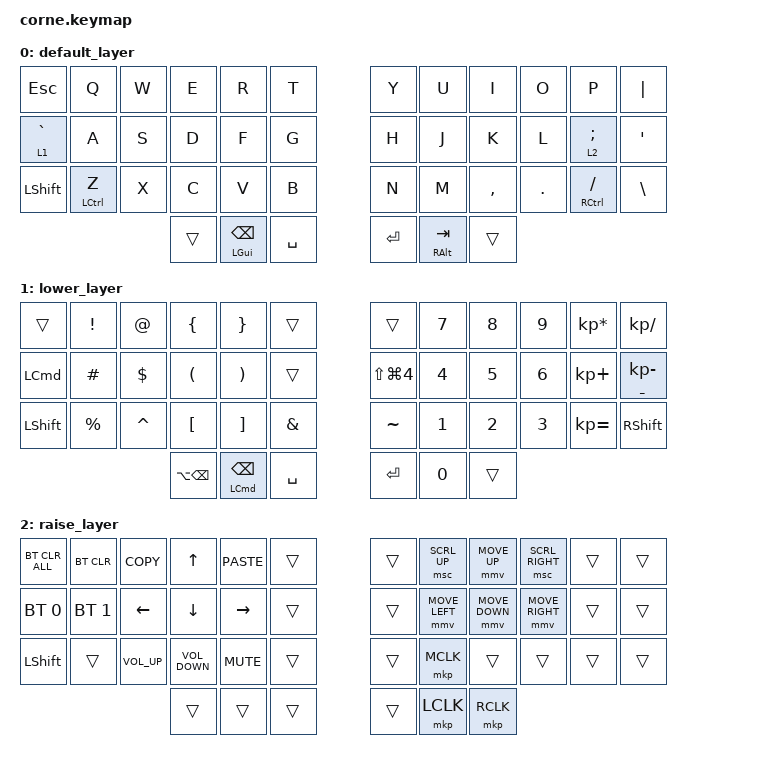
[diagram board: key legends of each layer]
/*
 * Copyright (c) 2020 The ZMK Contributors
 *
 * SPDX-License-Identifier: MIT
 */

#include <behaviors.dtsi>
#include <dt-bindings/zmk/bt.h>
#include <dt-bindings/zmk/keys.h>
#include <dt-bindings/zmk/pointing.h>

/ {
    keymap {
        compatible = "zmk,keymap";

        default_layer {
            // -----------------------------------------------------------------------------------------
            // |  TAB |  Q  |  W  |  E  |  R  |  T  |   |  Y  |  U   |  I  |  O  |  P  | BSPC |
            // | CTRL |  A  |  S  |  D  |  F  |  G  |   |  H  |  J   |  K  |  L  |  ;  |  '   |
            // | SHFT |  Z  |  X  |  C  |  V  |  B  |   |  N  |  M   |  ,  |  .  |  /  | ESC  |
            //                    | GUI | LWR | SPC |   | ENT | RSE  | ALT |

            bindings = <
&kp ESC      &kp Q               &kp W  &kp E   &kp R               &kp T        &kp Y      &kp U         &kp I      &kp O    &kp P                   &kp PIPE
&lt 1 GRAVE  &kp A               &kp S  &kp D   &kp F               &kp G        &kp H      &kp J         &kp K      &kp L    &lt 2 SEMICOLON         &kp SQT
&kp LSHFT    &mt LEFT_CONTROL Z  &kp X  &kp C   &kp V               &kp B        &kp N      &kp M         &kp COMMA  &kp DOT  &mt RIGHT_CONTROL FSLH  &kp BACKSLASH
                                        &trans  &mt LGUI BACKSPACE  &kp SPACE    &kp ENTER  &mt RALT TAB  &trans
            >;
        };

        lower_layer {
            // -----------------------------------------------------------------------------------------
            // |  TAB |  1  |  2  |  3  |  4  |  5  |   |  6  |  7  |  8  |  9  |  0  | BSPC |
            // | BTCLR| BT1 | BT2 | BT3 | BT4 | BT5 |   | LFT | DWN |  UP | RGT |     |      |
            // | SHFT |     |     |     |     |     |   |     |     |     |     |     |      |
            //                    | GUI |     | SPC |   | ENT |     | ALT |

            bindings = <
&trans            &kp EXCLAMATION  &kp AT_SIGN  &kp LEFT_BRACE        &kp RIGHT_BRACE             &trans           &trans                &kp N7        &kp N8        &kp N9        &kp KP_MULTIPLY  &kp KP_DIVIDE
&kp LEFT_COMMAND  &kp HASH         &kp DOLLAR   &kp LEFT_PARENTHESIS  &kp RIGHT_PARENTHESIS       &trans           &kp LS(LG(NUMBER_4))  &kp NUMBER_4  &kp NUMBER_5  &kp NUMBER_6  &kp KP_PLUS      &mt UNDERSCORE KP_SUBTRACT
&kp LEFT_SHIFT    &kp PERCENT      &kp CARET    &kp LEFT_BRACKET      &kp RIGHT_BRACKET           &kp AMPERSAND    &kp TILDE             &kp NUMBER_1  &kp NUMBER_2  &kp NUMBER_3  &kp KP_EQUAL     &kp RIGHT_SHIFT
                                                &kp LA(BACKSPACE)     &mt LEFT_COMMAND BACKSPACE  &kp SPACE        &kp ENTER             &kp NUMBER_0  &trans
            >;
        };

        raise_layer {
            // -----------------------------------------------------------------------------------------
            // |  TAB |  !  |  @  |  #  |  $  |  %  |   |  ^  |  &  |  *  |  (  |  )  | BSPC |
            // | CTRL |     |     |     |     |     |   |  -  |  =  |  [  |  ]  |  \  |  `   |
            // | SHFT |     |     |     |     |     |   |  _  |  +  |  {  |  }  | "|" |  ~   |
            //                    | GUI |     | SPC |   | ENT |     | ALT |

            bindings = <
&bt BT_CLR_ALL  &bt BT_CLR    &kp K_COPY       &kp UP_ARROW       &kp K_PASTE  &trans    &trans  &msc SCRL_UP    &mmv MOVE_UP    &msc SCRL_RIGHT  &trans  &trans
&bt BT_SEL 0    &bt BT_SEL 1  &kp LEFT         &kp DOWN           &kp RIGHT    &trans    &trans  &mmv MOVE_LEFT  &mmv MOVE_DOWN  &mmv MOVE_RIGHT  &trans  &trans
&kp LEFT_SHIFT  &trans        &kp C_VOLUME_UP  &kp C_VOLUME_DOWN  &kp K_MUTE   &trans    &trans  &mkp MCLK       &trans          &trans           &trans  &trans
                                               &trans             &trans       &trans    &trans  &mkp LCLK       &mkp RCLK
            >;
        };
    };
};
